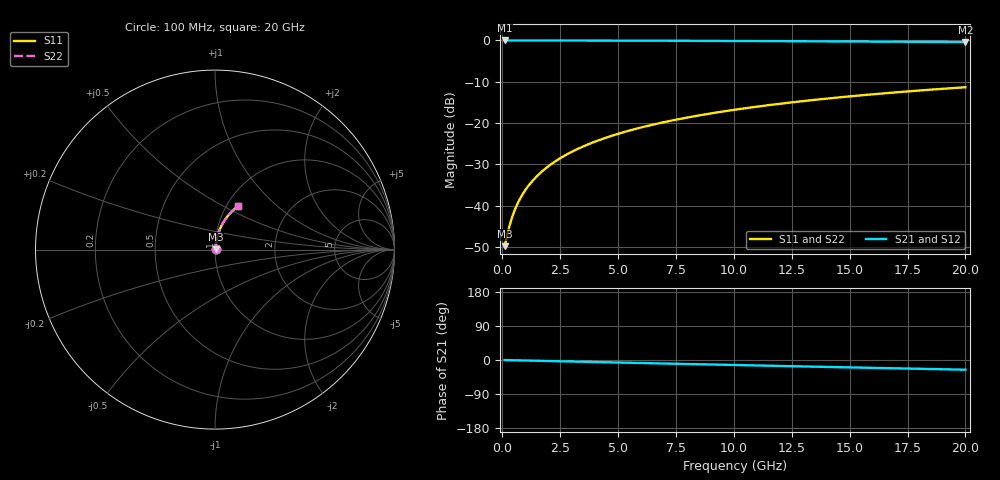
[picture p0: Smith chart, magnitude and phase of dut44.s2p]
! Touchstone file exported from HFSS 2026.1.0
!  File:  C:/ffzhzh/LocalFiles/Ansys_Project_Files/temp_train_TMRDL_44_1782880741_42304.aedt
!  Generated:  12:40:17 PM Jul  1, 2026
!  Design:  TMRDL
!  Project:  temp_train_TMRDL_44_1782880741_42304
! Variables:
!  h_bsmrdl = 2um
!  h_ox = 20um
!  h_rdl = 5um
!  h_sub = 80um
!  h_tmrdl = 3.31um
!  h_tsv = 80um
!  h_via = 3um
!  l_bsmrdl = 300um
!  l_sub = 740.38um
!  l_tmrdl = 340.38um
!  m_sub = 200um
!  pitch = 36.09um
!  r_tsv = 6um
!  s_tmrdl = 10um
!  w_bsmrdl = 18um
!  w_sub = 500um
!  w_tmrdl = 13.64um
!  x_tsv_center1 = 347.2um
!  x_tsv_center2 = 665.2um
!  x_tsv_center3 = 1019.22um
!  x_tsv_center4 = 1337.22um
!  x_tsv_center5 = 1691.24um
!  x_tsv_center6 = 2009.24um
# GHz S MA R 50.000000
! Terminal data exported
! Port[1] = TM_RDL1_1_T1
! Port[2] = TM_RDL1_1_T2
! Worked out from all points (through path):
!   200 points, 100 MHz to 20 GHz, reference 50 ohm
!   highest |S21| = -0.02 dB at 100 MHz (marker M1); lowest = -0.4 dB at 20 GHz (marker M2)
!   group delay of S21, straight-line fit = 3.56 ps
!   lowest |S11| = -49.8 dB at 100 MHz (marker M3), VSWR 1.01, Z = 50.3 + j0.16 ohm
!   |S11| at or under -10 dB: start of sweep to end of sweep
!   |S22| runs from -49.8 to -11.3 dB; largest |S21 - S12| = 4.1e-15
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0.1  0.003236 29.4  0.9972 -0.1  0.9972 -0.1  0.003236 29.4
! Gamma 0 0 0 0
! Port Impedance 50 0 50 0
0.3  0.00556 57.7  0.9971 -0.4  0.9971 -0.4  0.00556 57.7
0.4  0.006933 63.8  0.997 -0.6  0.997 -0.6  0.006933 63.8
0.5  0.008341 67.7  0.9969 -0.7  0.9969 -0.7  0.00834 67.7
0.6  0.009763 70.5  0.9968 -0.8  0.9968 -0.8  0.009762 70.5
0.8  0.01263 74.1  0.9967 -1.1  0.9967 -1.1  0.01263 74.1
1  0.01552 76.4  0.9966 -1.4  0.9966 -1.4  0.01552 76.4
1.2  0.01843 77.9  0.9965 -1.6  0.9965 -1.6  0.01843 77.9
1.4  0.02135 78.9  0.9964 -1.9  0.9964 -1.9  0.02135 78.9
1.7  0.02574 80.0  0.9962 -2.3  0.9962 -2.3  0.02574 80.0
2.2  0.03308 80.8  0.9959 -3.0  0.9959 -3.0  0.03308 80.8
2.8  0.0419 81.1  0.9954 -3.8  0.9954 -3.8  0.0419 81.1
3.5  0.05217 81.0  0.9947 -4.7  0.9947 -4.7  0.05217 81.0
4.2  0.06239 80.5  0.9939 -5.6  0.9939 -5.6  0.06239 80.6
5  0.074 79.9  0.9928 -6.7  0.9928 -6.7  0.074 79.9
5.9  0.08695 79.0  0.9914 -7.9  0.9914 -7.9  0.08695 79.0
6.8  0.09977 78.0  0.9899 -9.1  0.9899 -9.1  0.09977 78.0
8.3  0.1208 76.3  0.9869 -11.0  0.9869 -11.0  0.1208 76.3
10.1  0.1456 74.1  0.9829 -13.3  0.9829 -13.3  0.1456 74.1
13.4  0.1895 70.2  0.9743 -17.5  0.9743 -17.5  0.1895 70.2
16.7  0.2313 66.3  0.9644 -21.6  0.9644 -21.6  0.2313 66.3
20  0.271 62.4  0.9534 -25.6  0.9534 -25.6  0.271 62.4
